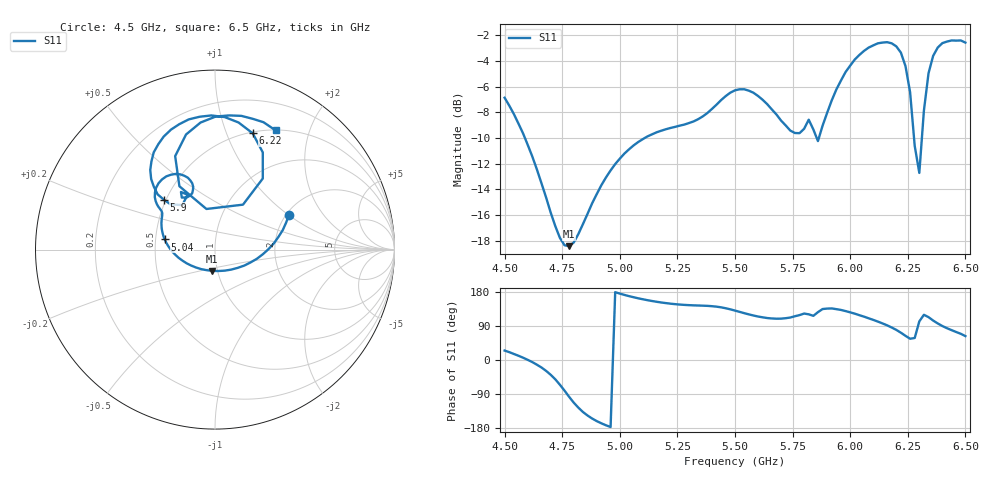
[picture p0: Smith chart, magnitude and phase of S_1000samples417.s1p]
! TOUCHSTONE file generated by CST MICROWAVE STUDIO
! Date and time: Fri Oct 28 02:47:09 2022
! Project name: L.cst
! Parameters = {Di=1.27; Epsilon_r=1.56; InnerDiameter=1.27; Length=2; Lf=10; Lg=60; OuterConductorThickness=0.2921; OuterDiameter=3.6; Wf=3; Wp=41.2; de=1.5; df=6.8; g=0.8; gx=2.58743; gy=0.887365; h=2.34; hf=1.524; px=14.2776; py=10.3888; w=9.7; wx=11.6901; wy=9.50141}
! Header version: 2018
! Port assignment regex: !\s*Touchstone port\s*([0-9]+)\s*=\s*(CST MWS port|CST DS port)\s*([0-9]+|Zmin|Zmax)\s*\(\"(.*)\"\)(\s*mode\s*([0-9]+))?.*
! Touchstone port assignment:
! Touchstone port 1 = CST MWS port 1 ("")
# GHz S DB R 50
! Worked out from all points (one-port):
!   101 points, 4.5 GHz to 6.5 GHz, reference 50 ohm
!   lowest |S11| = -18.4 dB at 4.78 GHz (marker M1), VSWR 1.27, Z = 47.2 - j11.4 ohm
!   |S11| at or under -10 dB: 4.588 GHz to 5.108 GHz (519.4 MHz wide, 10.7 % of centre); 5.854833 GHz to 5.863934 GHz (9.101 MHz wide, 0.155 % of centre); 6.277 GHz to 6.311 GHz (34.06 MHz wide, 0.541 % of centre)
!   S11 on the Smith chart (normalised r, x): 4.5 GHz: 2.08, +1.00; 5.04 GHz: 0.56, +0.07; 5.9 GHz: 0.49, +0.32; 6.22 GHz: 0.51, +1.24; 6.5 GHz: 0.51, +1.51
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4.5  -6.86 24.9
4.64  -12.44 -12.4
4.76  -18.36 -80.8
4.78  -18.43 -97.1
5  -11.61 175.2
5.04  -10.88 168.5
5.26  -9.03 146.3
5.4  -7.73 142.0
5.5  -6.28 130.4
5.6  -6.72 114.7
5.68  -8.17 109.0
5.76  -9.60 115.5
5.82  -8.57 120.6
5.86  -10.23 126.2
5.9  -8.03 135.7
6  -4.35 125.8
6.06  -3.20 114.4
6.14  -2.56 96.6
6.18  -2.61 85.8
6.22  -3.34 72.0
6.26  -6.43 56.1
6.28  -10.60 58.1
6.3  -12.72 101.9
6.32  -7.85 119.3
6.34  -4.94 113.1
6.36  -3.59 104.1
6.4  -2.60 89.7
6.5  -2.56 63.0
